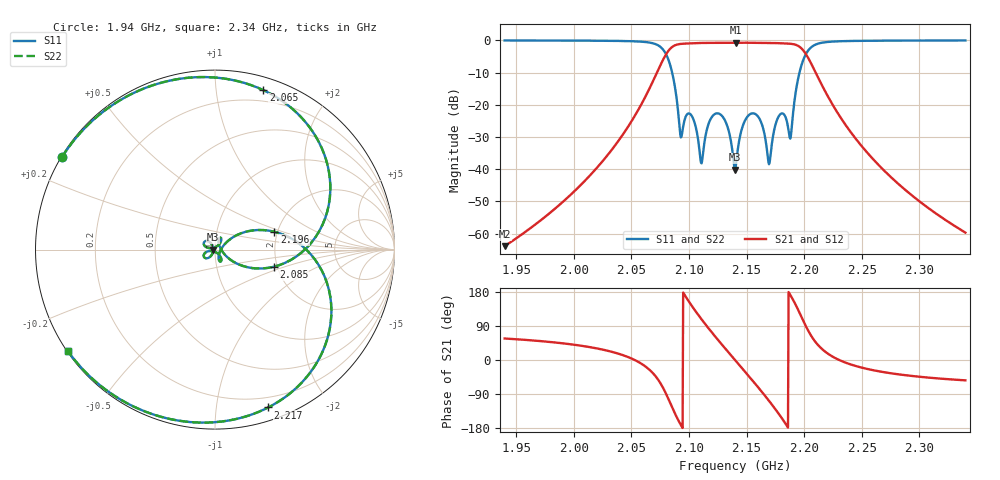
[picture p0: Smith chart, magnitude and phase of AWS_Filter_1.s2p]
!Port 1 is shunt  connected
!Port 2 is shunt  connected
!prototype= pole placed tchebycheff
!n=  5,  np= 0,  rl=  22.000dB
!transform= band pass
!f0= 2140.000MHz,  bw=  100.000MHz, q0= 800.000
!fstart= 1940.000MHz, fstep=  0.500MHz, fstop= 2340.000MHz
# MHZ S MA R 50
!Freq  Mag(S11)  Arg(S11)  Mag(S21)  Arg(S21)  Mag(S12)  Arg(S12)  Mag(S22)  Arg(S22)
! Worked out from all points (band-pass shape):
!   801 points, 1.94 GHz to 2.34 GHz, reference 50 ohm
!   highest |S21| = -0.72 dB at 2.14 GHz (marker M1); lowest = -63.9 dB at 1.94 GHz (marker M2)
!   |S21| within 3 dB of the highest: 2.081 GHz to 2.201 GHz (119.3 MHz wide, 5.57 % of centre)
!   lowest |S11| = -40.1 dB at 2.14 GHz (marker M3), VSWR 1.02, Z = 49 - j0.000286 ohm
!   |S11| at or under -10 dB: 2.085 GHz to 2.196 GHz (110.6 MHz wide, 5.16 % of centre)
!   |S22| runs from -40.1 to 0.0 dB; largest |S21 - S12| = 0
!   S11 on the Smith chart (normalised r, x): 1.94 GHz: 0.00, +0.28; 2.065 GHz: 0.10, +1.34; 2.085 GHz: 1.91, -0.41; 2.196 GHz: 1.92, +0.43; 2.217 GHz: 0.11, -1.39; 2.34 GHz: 0.00, -0.31
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1940  0.996 148.8  0.0006377 56.8  0.0006377 56.8  0.996 148.8
2007  0.9899 130.6  0.005895 37.4  0.005895 37.4  0.9899 130.6
2065  0.9284 73.1  0.1677 -23.8  0.1677 -23.8  0.9284 73.1
2073.5  0.832 45.8  0.3527 -52.9  0.3527 -52.9  0.832 45.8
2085  0.34 -16.4  0.7781 -122.0  0.7781 -122.0  0.34 -16.4
2092.5  0.03462 -0.6  0.8784 -168.7  0.8784 -168.7  0.03462 -0.6
2096.5  0.06039 68.8  0.89 170.5  0.89 170.5  0.06039 68.8
2113  0.02271 159.3  0.9117 99.3  0.9117 99.3  0.02271 159.3
2126.5  0.07226 140.1  0.9159 48.5  0.9159 48.5  0.07226 140.1
2140  0.009834 -180.0  0.9201 -0.0  0.9201 -0.0  0.009834 -180.0
2140.5  0.01049 -161.1  0.9201 -1.8  0.9201 -1.8  0.01049 -161.1
2154.5  0.07334 -142.6  0.9166 -51.7  0.9166 -51.7  0.07334 -142.6
2162.5  0.0545 -163.2  0.9151 -81.0  0.9151 -81.0  0.0545 -163.2
2168  0.01816 -153.0  0.9135 -101.8  0.9135 -101.8  0.01816 -153.0
2178.5  0.06852 -58.8  0.9029 -144.3  0.9029 -144.3  0.06852 -58.8
2185  0.05527 -68.4  0.893 -173.4  0.893 -173.4  0.05527 -68.4
2188.5  0.03263 -0.8  0.8836 169.1  0.8836 169.1  0.03263 -0.8
2196.5  0.345 16.8  0.7832 121.6  0.7832 121.6  0.345 16.8
2207  0.802 -39.0  0.4065 59.7  0.4065 59.7  0.802 -39.0
2217  0.9282 -71.4  0.1783 25.1  0.1783 25.1  0.9282 -71.4
2273.5  0.9897 -127.2  0.008087 -34.2  0.008087 -34.2  0.9897 -127.2
2340  0.9959 -145.6  0.001036 -53.7  0.001036 -53.7  0.9959 -145.6
